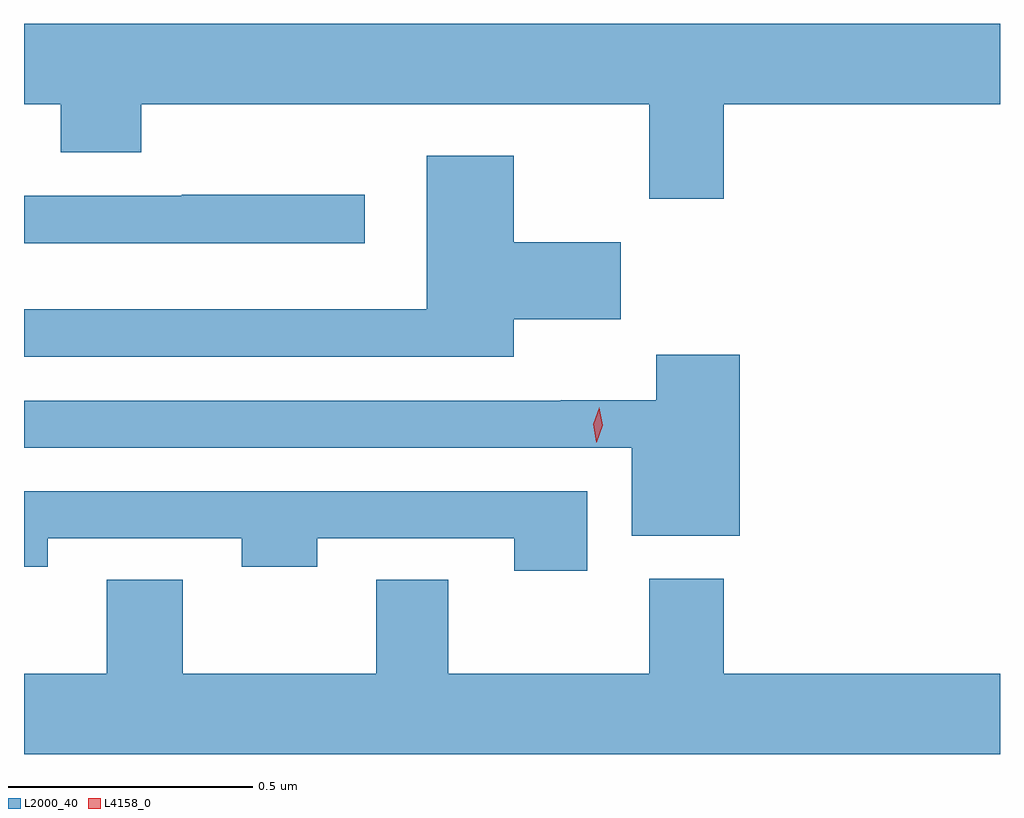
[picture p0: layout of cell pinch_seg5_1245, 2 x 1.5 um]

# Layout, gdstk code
import gdstk
lib = gdstk.Library(unit=1e-6, precision=1e-09)
def P(c, l, *ps):  # polygons
    for p in ps: c.add(gdstk.Polygon(p, *l))
L2000_40 = (2000, 40)
L4158_0 = (4158, 0)

pinch_seg5_1245 = lib.new_cell('pinch_seg5_1245')
P(pinch_seg5_1245, L2000_40, [(616.586,908.708),(617.152,908.708),(617.152,908.872),(615.152,908.872),(615.152,908.708),(615.227,908.708),(615.227,908.609),(615.392,908.609),(615.392,908.708),(616.433,908.708),(616.433,908.514),(616.586,908.514)],
  [(616.156,908.267),(616.375,908.267),(616.375,908.425),(616.156,908.425),(616.156,908.602),(615.977,908.602),(615.977,908.287),(615.152,908.287),(615.152,908.19),(616.156,908.19)],
  [(615.85,908.522),(615.475,908.522),(615.475,908.52),(615.152,908.52),(615.152,908.423),(615.85,908.423)],
  [(616.619,908.194),(616.448,908.194),(616.448,908.101),(616.252,908.101),(616.252,908.1),(615.152,908.1),(615.152,908.004),(616.397,908.004),(616.397,907.823),(616.619,907.823)],
  [(616.306,907.914),(615.152,907.914),(615.152,907.76),(615.201,907.76),(615.201,907.818),(615.598,907.818),(615.598,907.76),(615.753,907.76),(615.753,907.818),(616.157,907.818),(616.157,907.752),(616.306,907.752)],
  [(617.152,907.54),(616.586,907.54),(616.586,907.735),(616.433,907.735),(616.433,907.54),(616.021,907.54),(616.021,907.733),(615.874,907.733),(615.874,907.54),(615.477,907.54),(615.477,907.733),(615.322,907.733),(615.322,907.54),(615.152,907.54),(615.152,907.376),(617.152,907.376)])
P(pinch_seg5_1245, L4158_0, [(616.325,908.015),(616.325,908.015),(616.318,908.052),(616.331,908.086),(616.331,908.087),(616.331,908.086),(616.338,908.05),(616.326,908.015)])

lib.write_gds('pinch_seg5_1245.gds')
